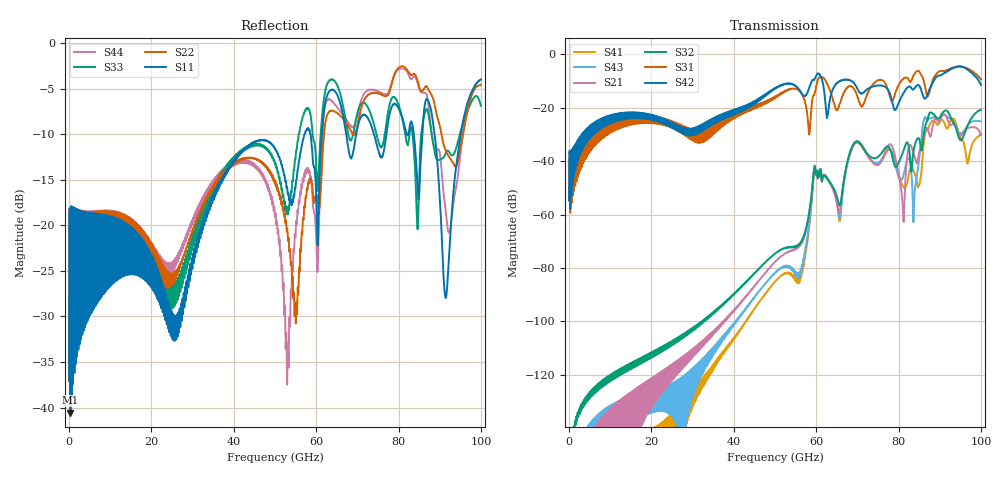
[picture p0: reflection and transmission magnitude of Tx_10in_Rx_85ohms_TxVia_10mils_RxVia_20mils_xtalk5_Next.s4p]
! Info: Touchstone file created by Circ.  Input file=Tx_10in_Rx_85ohms_TxVia_10mils_RxVia_20mils.circ
# Hz S RI R 50
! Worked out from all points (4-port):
!   10000 points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, 10 MHz to 100 GHz, reference 50 ohm
!   strongest paths, dB at 10 MHz, 25.01 GHz, 50.01 GHz, 75.01 GHz, 100 GHz:
!     S42: -54.7, -27.5, -12.7, -11.7, -11.5
!     S31: -54.7, -27.6, -15.9, -9.7, -9.4
!     S32: -177.8, -108.2, -74.6, -38.4, -20.8
!     S21: -, -118.3, -77.7, -41.4, -30.2
!     S43: -154.5, -125.1, -81.7, -40.6, -25.1
!     S41: -154.7, -150.4, -85.0, -41.2, -29.9
!   lowest |S11| = -40.5 dB at 320 MHz (marker M1), VSWR 1.02, Z = 49.3 - j0.607 ohm
!   |S11| at or under -10 dB: start of sweep to 57.22 GHz; 74.02 GHz to 77.06 GHz (3.045 GHz wide, 4.03 % of centre); 88.75 GHz to 95.11 GHz (6.359 GHz wide, 6.92 % of centre) (the widest 3 of 7)
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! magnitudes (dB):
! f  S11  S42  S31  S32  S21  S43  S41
! 10 MHz  -37.0  -54.7  -54.7  -177.8  -  -154.5  -154.7
! 320 MHz  -40.5  -46.2  -46.2  -152.3  -181.6  -181.7  -180.9
! 55.97 GHz  -12.6  -13.5  -13.8  -71.0  -71.8  -81.9  -84.3
! 59.79 GHz  -14.7  -8.8  -13.8  -43.5  -43.4  -43.6  -43.7
! 81.09 GHz  -8.4  -14.8  -9.3  -36.6  -59.0  -45.8  -49.5
! 91.47 GHz  -28.0  -6.7  -6.1  -21.0  -23.0  -22.9  -27.0
! 100 GHz  -4.0  -11.5  -9.4  -20.8  -30.2  -25.1  -29.9
